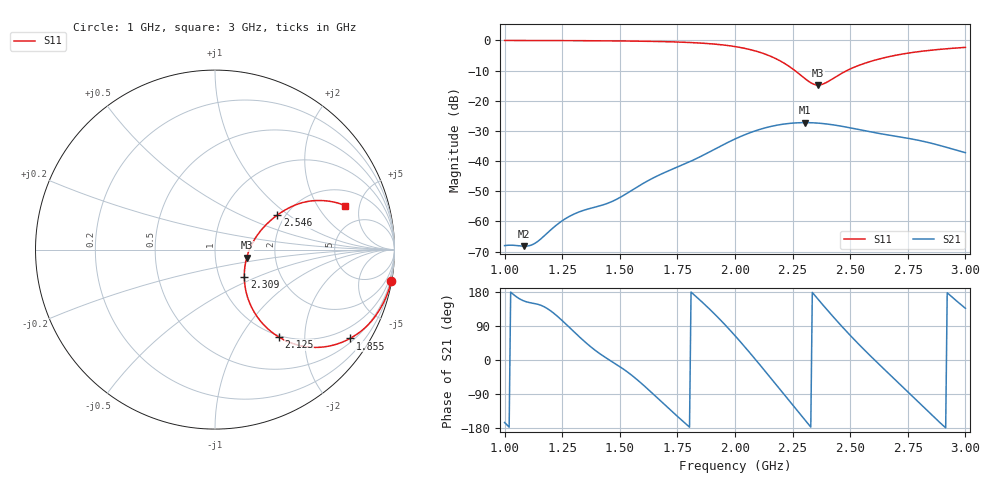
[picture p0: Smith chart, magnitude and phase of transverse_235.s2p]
! TOUCHSTONE file generated by CST MICROWAVE STUDIO
! Date and time: Tue Mar 11 13:57:56 2025
! Project name: transverse.cst
! Parameters = {Fracture=1; B=10; D=160; F=15; Feed=2.85625; L=100; M=20; R=0.384908; S=2; Theta=270; length=57.125; wave=114.25}
! Header version: 2024
! Port assignment regex: !\s*Touchstone port\s*([0-9]+)\s*=\s*(CST MWS port|CST DES external port|CST DES block port)\s*(.+)\s* \(\"(.*)\"\)(\s*mode\s*([0-9]+))?.*
! Touchstone port assignment:
! Touchstone port 1 = CST MWS port 1 ("")
! Touchstone port 2 = CST MWS port 2 ("")
# GHz S MA R 50
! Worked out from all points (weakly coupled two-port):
!   305 points, 1 GHz to 3 GHz, reference 50 ohm
!   highest |S21| = -27.26 dB at 2.303 GHz (marker M1); lowest = -68.2 dB at 1.086 GHz (marker M2)
!   lowest |S11| = -14.8 dB at 2.362 GHz (marker M3), VSWR 1.45, Z = 71.1 - j6.59 ohm
!   |S11| at or under -10 dB: 2.26 GHz to 2.486 GHz (225.7 MHz wide, 9.51 % of centre)
!   S12 and S22 are empty: the file has one direction only
!   S11 on the Smith chart (normalised r, x): 1 GHz: 0, -11; 1.855 GHz: 0.62, -3.23; 2.125 GHz: 0.97, -1.49; 2.309 GHz: 1.31, -0.42; 2.546 GHz: 1.82, +0.83; 3 GHz: 3.07, +3.63
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1  0.9977 -10.0  0.0003961 -165.0  0 0.0  0 0.0
1.08553  0.9965 -11.2  0.0003876 155.4  0 0.0  0 0.0
1.13158  0.9957 -11.9  0.000432 148.9  0 0.0  0 0.0
1.25  0.9927 -13.8  0.001022 104.0  0 0.0  0 0.0
1.33553  0.9893 -15.4  0.00149 55.0  0 0.0  0 0.0
1.47368  0.9813 -18.5  0.002198 -7.2  0 0.0  0 0.0
1.67105  0.9585 -24.6  0.005867 -104.6  0 0.0  0 0.0
1.85526  0.9008 -33.3  0.01213 154.0  0 0.0  0 0.0
2  0.7904 -43.6  0.02319 64.2  0 0.0  0 0.0
2.06579  0.7042 -49.1  0.02954 18.0  0 0.0  0 0.0
2.125  0.6034 -53.9  0.03498 -25.2  0 0.0  0 0.0
2.21711  0.4106 -57.9  0.04125 -93.9  0 0.0  0 0.0
2.30263  0.2342 -45.7  0.04333 -157.6  0 0.0  0 0.0
2.30921  0.2239 -43.3  0.04333 -162.4  0 0.0  0 0.0
2.33553  0.1927 -30.4  0.04307 178.3  0 0.0  0 0.0
2.36184  0.1822 -14.2  0.04247 159.3  0 0.0  0 0.0
2.39474  0.1988 4.3  0.04129 136.0  0 0.0  0 0.0
2.44737  0.2627 20.9  0.03864 99.7  0 0.0  0 0.0
2.54605  0.3965 29.0  0.03275 36.1  0 0.0  0 0.0
2.67105  0.5406 28.5  0.02677 -38.1  0 0.0  0 0.0
2.82895  0.6733 23.8  0.02072 -130.6  0 0.0  0 0.0
3  0.7661 18.6  0.01375 136.4  0 0.0  0 0.0
